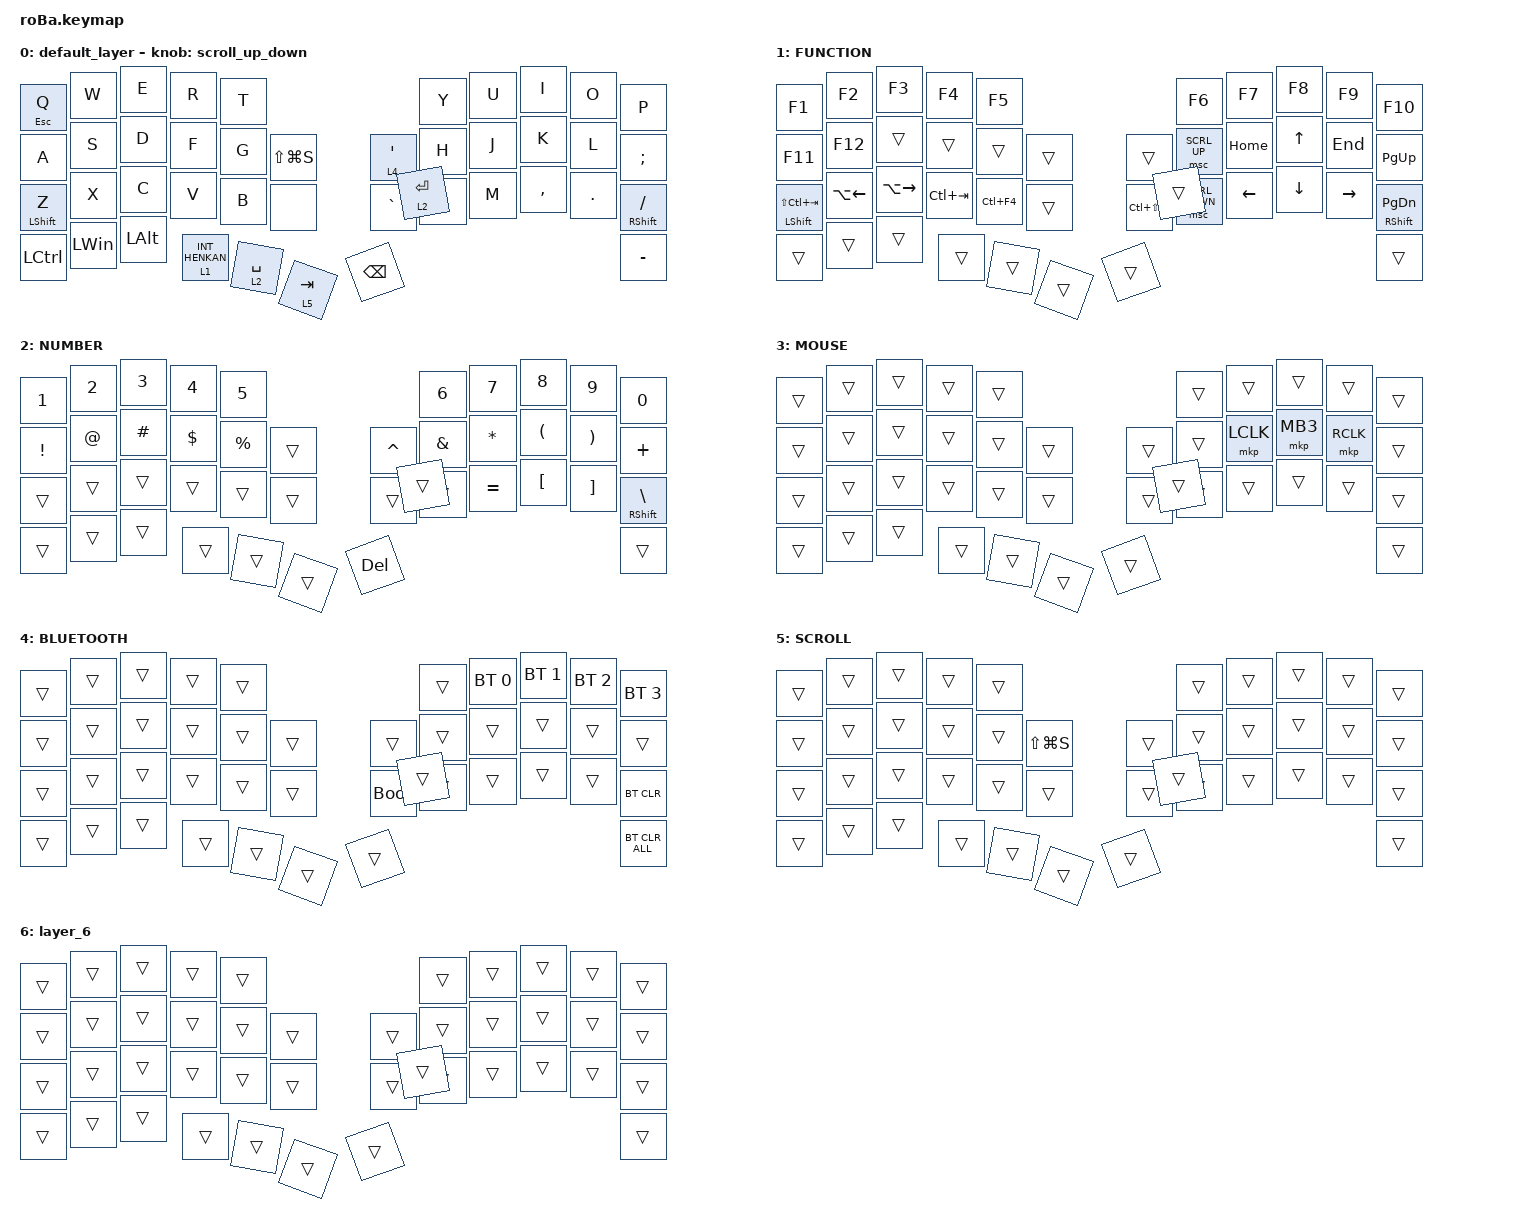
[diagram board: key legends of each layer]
#include <input/processors.dtsi>
#include <behaviors.dtsi>
#include <dt-bindings/zmk/bt.h>
#include <dt-bindings/zmk/keys.h>
#include <dt-bindings/zmk/pointing.h>

#define ZMK_POINTING_DEFAULT_SCRL_VAL 100

&mt {
    flavor = "balanced";
    quick-tap-ms = <0>;
};

&trackball {
    //automouse-layer = <4>;
    //scroll-layers = <5>;
    // arrows {
    //     layers = <3>;
    //     bindings =
    //         <&kp RIGHT_ARROW>,
    //         <&kp LEFT_ARROW>,
    //         <&kp UP_ARROW>,
    //         <&kp DOWN_ARROW>;
    //     tick = <10>;
    //     wait-ms = <5>;
    //     tap-ms = <5>;
    // };
};

/ {
    combos {
        compatible = "zmk,combos";

        BrowserBack {
            bindings = <&kp INT_MUHENKAN>;
            key-positions = <13 12>;
        };

        BrowserForward {
            bindings = <&kp INT_HENKAN>;
            key-positions = <18 19>;
        };
    };

    macros {
        to_layer_0: to_layer_0 {
            compatible = "zmk,behavior-macro-one-param";
            #binding-cells = <1>;
            bindings = <&to 0 &macro_param_1to1 &kp MACRO_PLACEHOLDER>;
            label = "TO_LAYER_0";
        };
    };

    behaviors {
        lt_to_layer_0: lt_to_layer_0 {
            compatible = "zmk,behavior-hold-tap";
            label = "LAYER_TAP_TO_0";
            bindings = <&mo>, <&to_layer_0>;

            #binding-cells = <2>;
            tapping-term-ms = <200>;
        };

        scroll_up_down: behavior_sensor_rotate_mouse_wheel_up_down {
            compatible = "zmk,behavior-sensor-rotate";
            #sensor-binding-cells = <0>;
            bindings = <&msc SCRL_DOWN>, <&msc SCRL_UP>;

            tap-ms = <20>;
        };
    };

    keymap {
        compatible = "zmk,keymap";

        default_layer {
            bindings = <
&mt ESCAPE Q      &kp W         &kp E         &kp R                        &kp T                                          &kp Y        &kp U  &kp I      &kp O    &kp P
&kp A             &kp S         &kp D         &kp F                        &kp G        &kp LS(LG(S))      &lt 4 SQT      &kp H        &kp J  &kp K      &kp L    &kp SEMICOLON
&mt LEFT_SHIFT Z  &kp X         &kp C         &kp V                        &kp B        &none              &kp GRAVE      &kp N        &kp M  &kp COMMA  &kp DOT  &mt RIGHT_SHIFT SLASH
&kp LCTRL         &kp LEFT_WIN  &kp LEFT_ALT  &lt_to_layer_0 1 INT_HENKAN  &lt 2 SPACE  &lt 5 TAB          &kp BACKSPACE  &lt 2 ENTER                             &kp MINUS
            >;

            // sensor-bindings = <&inc_dec_kp PG_UP PAGE_DOWN>;

            sensor-bindings = <&scroll_up_down>;
        };

        FUNCTION {
            bindings = <
&kp F1                      &kp F2              &kp F3               &kp F4       &kp F5                                 &kp F6          &kp F7          &kp F8          &kp F9           &kp F10
&kp F11                     &kp F12             &trans               &trans       &trans      &trans      &trans         &msc SCRL_UP    &kp HOME        &kp UP_ARROW    &kp END          &kp PAGE_UP
&mt LEFT_SHIFT LS(LC(TAB))  &kp LA(LEFT_ARROW)  &kp LA(RIGHT_ARROW)  &kp LC(TAB)  &kp LC(F4)  &trans      &kp LC(LS(M))  &msc SCRL_DOWN  &kp LEFT_ARROW  &kp DOWN_ARROW  &kp RIGHT_ARROW  &mt RIGHT_SHIFT PAGE_DOWN
&trans                      &trans              &trans               &trans       &trans      &trans      &trans         &trans                                                           &trans
            >;
        };

        NUMBER {
            bindings = <
&kp N1           &kp N2       &kp N3    &kp N4      &kp N5                               &kp N6         &kp N7        &kp N8                &kp N9                 &kp N0
&kp EXCLAMATION  &kp AT_SIGN  &kp HASH  &kp DOLLAR  &kp PERCENT  &trans      &kp CARET   &kp AMPERSAND  &kp ASTERISK  &kp LEFT_PARENTHESIS  &kp RIGHT_PARENTHESIS  &kp PLUS
&trans           &trans       &trans    &trans      &trans       &trans      &trans      &trans         &kp EQUAL     &kp LEFT_BRACKET      &kp RIGHT_BRACKET      &mt RIGHT_SHIFT BACKSLASH
&trans           &trans       &trans    &trans      &trans       &trans      &kp DELETE  &trans                                                                    &trans
            >;
        };

        MOUSE {
            bindings = <
&trans  &trans  &trans  &trans  &trans                      &trans  &trans     &trans    &trans     &trans
&trans  &trans  &trans  &trans  &trans  &trans      &trans  &trans  &mkp LCLK  &mkp MB3  &mkp RCLK  &trans
&trans  &trans  &trans  &trans  &trans  &trans      &trans  &trans  &trans     &trans    &trans     &trans
&trans  &trans  &trans  &trans  &trans  &trans      &trans  &trans                                  &trans
            >;
        };

        BLUETOOTH {
            bindings = <
&trans  &trans  &trans  &trans  &trans                           &trans  &bt BT_SEL 0  &bt BT_SEL 1  &bt BT_SEL 2  &bt BT_SEL 3
&trans  &trans  &trans  &trans  &trans  &trans      &trans       &trans  &trans        &trans        &trans        &trans
&trans  &trans  &trans  &trans  &trans  &trans      &bootloader  &trans  &trans        &trans        &trans        &bt BT_CLR
&trans  &trans  &trans  &trans  &trans  &trans      &trans       &trans                                            &bt BT_CLR_ALL
            >;
        };

        SCROLL {
            bindings = <
&trans  &trans  &trans  &trans  &trans                             &trans  &trans  &trans  &trans  &trans
&trans  &trans  &trans  &trans  &trans  &kp LS(LG(S))      &trans  &trans  &trans  &trans  &trans  &trans
&trans  &trans  &trans  &trans  &trans  &trans             &trans  &trans  &trans  &trans  &trans  &trans
&trans  &trans  &trans  &trans  &trans  &trans             &trans  &trans                          &trans
            >;
        };

        layer_6 {
            bindings = <
&trans  &trans  &trans  &trans  &trans                      &trans  &trans  &trans  &trans  &trans
&trans  &trans  &trans  &trans  &trans  &trans      &trans  &trans  &trans  &trans  &trans  &trans
&trans  &trans  &trans  &trans  &trans  &trans      &trans  &trans  &trans  &trans  &trans  &trans
&trans  &trans  &trans  &trans  &trans  &trans      &trans  &trans                          &trans
            >;
        };
    };
};

&mkp_input_listener { input-processors = <&zip_temp_layer 3 5000>; };
